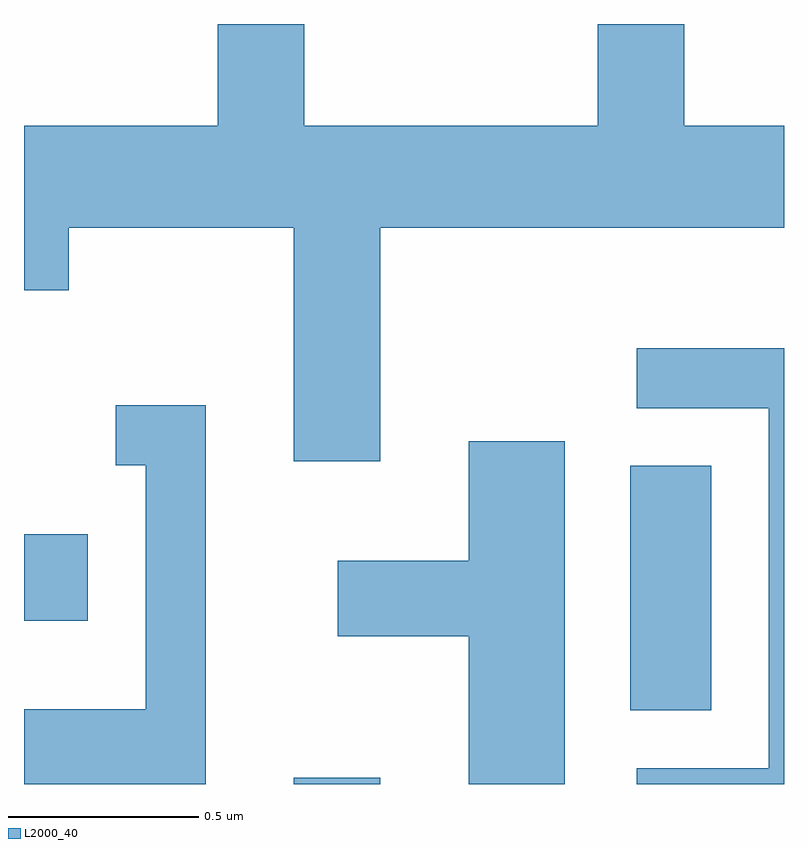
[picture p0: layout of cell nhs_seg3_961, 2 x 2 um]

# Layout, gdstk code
import gdstk
lib = gdstk.Library(unit=1e-6, precision=1e-09)
def R(c, l, rs):  # rectangles x0, y0, x1, y1
    for r in rs: c.add(gdstk.rectangle(r[:2], r[2:], *l))
def P(c, l, *ps):  # polygons
    for p in ps: c.add(gdstk.Polygon(p, *l))
L2000_40 = (2000, 40)

nhs_seg3_961 = lib.new_cell('nhs_seg3_961')
R(nhs_seg3_961, L2000_40, [(193.321,1117.892,193.549,1117.909), (194.206,1118.086,194.419,1118.729), (192.611,1118.321,192.779,1118.549)])
P(nhs_seg3_961, L2000_40, [(193.549,1119.356),(194.611,1119.356),(194.611,1119.624),(194.349,1119.624),(194.349,1119.892),(194.121,1119.892),(194.121,1119.624),(193.349,1119.624),(193.349,1119.892),(193.121,1119.892),(193.121,1119.624),(192.611,1119.624),(192.611,1119.191),(192.729,1119.191),(192.729,1119.356),(193.321,1119.356),(193.321,1118.741),(193.549,1118.741)],
  [(194.611,1119.039),(194.223,1119.039),(194.223,1118.881),(194.571,1118.881),(194.571,1117.934),(194.223,1117.934),(194.223,1117.892),(194.611,1117.892)],
  [(193.089,1118.889),(192.853,1118.889),(192.853,1118.731),(192.931,1118.731),(192.931,1118.089),(192.611,1118.089),(192.611,1117.892),(193.089,1117.892)],
  [(194.034,1118.794),(193.781,1118.794),(193.781,1118.479),(193.436,1118.479),(193.436,1118.281),(193.781,1118.281),(193.781,1117.892),(194.034,1117.892)])

lib.write_gds('nhs_seg3_961.gds')
